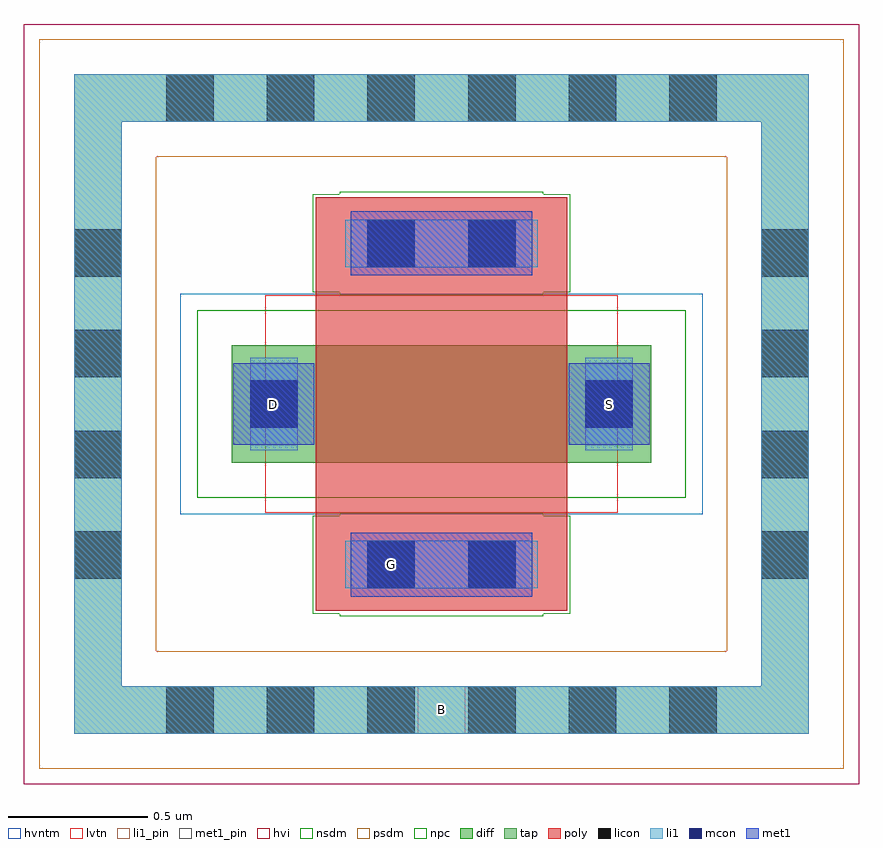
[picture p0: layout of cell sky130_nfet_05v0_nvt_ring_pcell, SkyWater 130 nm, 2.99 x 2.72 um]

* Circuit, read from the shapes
.subckt sky130_nfet_05v0_nvt_ring_pcell B D G S
XM1 S G D B sky130_fd_pr__nfet_05v0_nvt w=0.42 l=0.9
.ends

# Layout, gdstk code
import gdstk
lib = gdstk.Library(unit=1e-6, precision=1e-09)
def R(c, l, rs):  # rectangles x0, y0, x1, y1
    for r in rs: c.add(gdstk.rectangle(r[:2], r[2:], *l))
def A(c, l, x, y, w, h, nx, ny, dx, dy):  # array of equal rectangles
    R(c, l, [(x+i*dx, y+j*dy, x+i*dx+w, y+j*dy+h) for i in range(nx) for j in range(ny)])
def P(c, l, *ps):  # polygons
    for p in ps: c.add(gdstk.Polygon(p, *l))
diff = (65, 20)
tap = (65, 44)
poly = (66, 20)
licon = (66, 44)
li1_pin = (67, 16)
li1 = (67, 20)
mcon = (67, 44)
met1_pin = (68, 16)
met1 = (68, 20)
hvi = (75, 20)
nsdm = (93, 44)
psdm = (94, 20)
npc = (95, 20)
hvntm = (125, 20)
lvtn = (125, 44)

nfet = lib.new_cell('nfet')
R(nfet, diff, [(0,0,1.5,0.42)])
R(nfet, poly, [(0.3,-0.53,1.2,-0.2), (0.3,-0.2,1.2,0.62), (0.3,0.62,1.2,0.95)])
R(nfet, licon, [(0.485,-0.45,0.655,-0.28), (0.845,-0.45,1.015,-0.28), (0.065,0.125,0.235,0.295), (1.265,0.125,1.435,0.295), (0.485,0.7,0.655,0.87), (0.845,0.7,1.015,0.87)])
R(nfet, li1, [(0.405,-0.45,1.095,-0.28), (0.065,0.045,0.235,0.375), (1.265,0.045,1.435,0.375), (0.405,0.7,1.095,0.87)])
R(nfet, mcon, [(0.485,-0.45,0.655,-0.28), (0.845,-0.45,1.015,-0.28), (0.065,0.125,0.235,0.295), (1.265,0.125,1.435,0.295), (0.485,0.7,0.655,0.87), (0.845,0.7,1.015,0.87)])
R(nfet, met1, [(0.425,-0.48,1.075,-0.25), (0.005,0.065,0.295,0.355), (1.205,0.065,1.495,0.355), (0.425,0.67,1.075,0.9)])
R(nfet, hvi, [(-0.37,-0.725,1.87,1.145)])
R(nfet, nsdm, [(-0.125,-0.125,1.625,0.545)])
R(nfet, npc, [(0.29,-0.54,1.21,-0.19), (0.29,0.61,1.21,0.96)])
R(nfet, hvntm, [(-0.185,-0.185,1.685,0.605)])
R(nfet, lvtn, [(0.12,-0.18,1.38,0.6)])

guard_ring_gen = lib.new_cell('guard_ring_gen')
P(guard_ring_gen, tap, [(-0.17,-0.17),(-0.17,2.02),(0,2.02),(0,0),(2.29,0),(2.29,2.02),(-0.17,2.02),(-0.17,2.19),(2.46,2.19),(2.46,-0.17)])
A(guard_ring_gen, licon, 0.16, -0.17, 0.17, 0.17, 6, 2, 0.36, 2.19)
A(guard_ring_gen, licon, -0.17, 0.385, 0.17, 0.17, 1, 4, 0, 0.36)
A(guard_ring_gen, licon, 2.29, 0.385, 0.17, 0.17, 1, 4, 0, 0.36)
P(guard_ring_gen, li1, [(-0.17,-0.17),(-0.17,2.02),(0,2.02),(0,0),(2.29,0),(2.29,2.02),(-0.17,2.02),(-0.17,2.19),(2.46,2.19),(2.46,-0.17)])
P(guard_ring_gen, psdm, [(-0.295,-0.295),(-0.295,1.895),(0.125,1.895),(0.125,0.125),(2.165,0.125),(2.165,1.895),(-0.295,1.895),(-0.295,2.315),(2.585,2.315),(2.585,-0.295)])

sky130_nfet_05v0_nvt_rin = lib.new_cell('sky130_nfet_05v0_nvt_ring_pcell')
R(sky130_nfet_05v0_nvt_rin, li1_pin, [(0.665,-0.97,0.835,-0.8)])
R(sky130_nfet_05v0_nvt_rin, met1_pin, [(0.485,-0.45,0.655,-0.28), (0.065,0.125,0.235,0.295), (1.265,0.125,1.435,0.295)])
R(sky130_nfet_05v0_nvt_rin, hvi, [(-0.745,-1.15,2.245,1.57)])
R(sky130_nfet_05v0_nvt_rin, npc, [(0.385,-0.55,0.755,-0.18), (0.745,-0.55,1.115,-0.18), (0.385,0.6,0.755,0.97), (0.745,0.6,1.115,0.97)])
sky130_nfet_05v0_nvt_rin.add(gdstk.Reference(nfet, (0,0)))
sky130_nfet_05v0_nvt_rin.add(gdstk.Reference(guard_ring_gen, (-0.395,-0.8)))
sky130_nfet_05v0_nvt_rin.add(gdstk.Label('D', (0.15,0.21), layer=68, texttype=5))
sky130_nfet_05v0_nvt_rin.add(gdstk.Label('S', (1.35,0.21), layer=68, texttype=5))
sky130_nfet_05v0_nvt_rin.add(gdstk.Label('G', (0.57,-0.365), layer=68, texttype=5))
sky130_nfet_05v0_nvt_rin.add(gdstk.Label('B', (0.75,-0.885), layer=67, texttype=5))

lib.write_gds('sky130_nfet_05v0_nvt_ring_pcell.gds')
